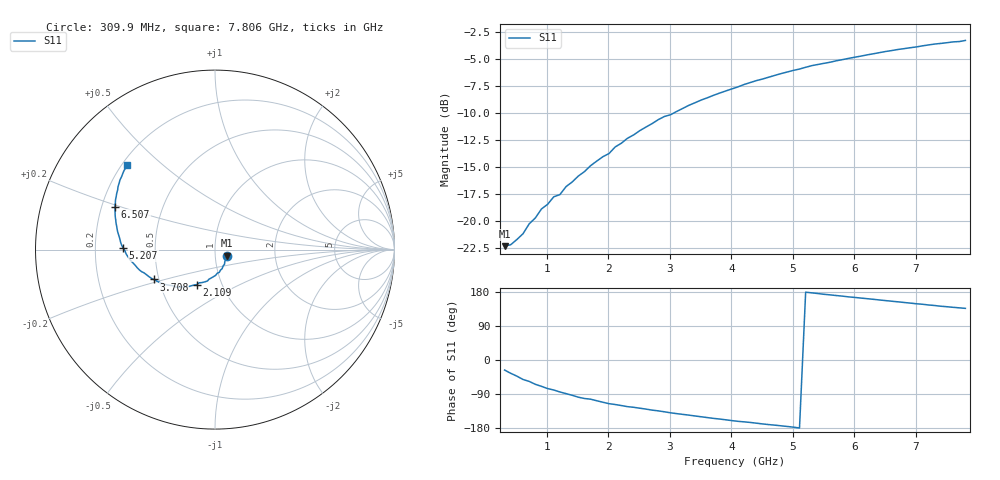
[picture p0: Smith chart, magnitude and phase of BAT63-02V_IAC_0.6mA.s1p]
! Infineon Technologies  Discrete & RF Semiconductors
! BAT63-02V
! IAC = 0.6 mA
! One-Port S-Parameters
# Hz  S  MA  R  50
!f  S11
!Hz  Mag  Ang
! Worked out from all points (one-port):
!   76 points, 309.9 MHz to 7.806 GHz, reference 50 ohm
!   lowest |S11| = -22.4 dB at 309.9 MHz (marker M1), VSWR 1.16, Z = 57.2 - j3.92 ohm
!   |S11| at or under -10 dB: start of sweep to 3.076 GHz
!   S11 on the Smith chart (normalised r, x): 309.9 MHz: 1.14, -0.08; 2.109 GHz: 0.76, -0.31; 3.708 GHz: 0.47, -0.18; 5.207 GHz: 0.32, +0.01; 6.507 GHz: 0.25, +0.19; 7.806 GHz: 0.22, +0.38
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3.0985e8  0.07614 -26.6
4.098e8  0.07735 -35.2
6.097e8  0.08696 -51.4
7.0965e8  0.09658 -56.5
8.096e8  0.1028 -64.2
9.0955e8  0.1132 -69.5
1.0095e9  0.119 -75.4
1.10945e9  0.1288 -79.2
1.2094e9  0.1319 -84.3
1.30935e9  0.1436 -88.7
1.70915e9  0.1796 -103.4
2.009e9  0.2044 -115.3
2.10895e9  0.2192 -117.5
2.2089e9  0.228 -120.2
2.30885e9  0.2404 -123.1
2.8086e9  0.293 -134.2
3.2084e9  0.3305 -143.5
3.70815e9  0.38 -154.0
4.10795e9  0.416 -161.9
4.30785e9  0.4356 -164.8
5.0075e9  0.4957 -177.2
5.2074e9  0.5122 179.0
5.70715e9  0.5492 170.1
6.007e9  0.5703 165.1
6.50675e9  0.6061 156.8
6.90655e9  0.6309 150.2
7.4063e9  0.6607 141.9
7.8061e9  0.6819 136.3
